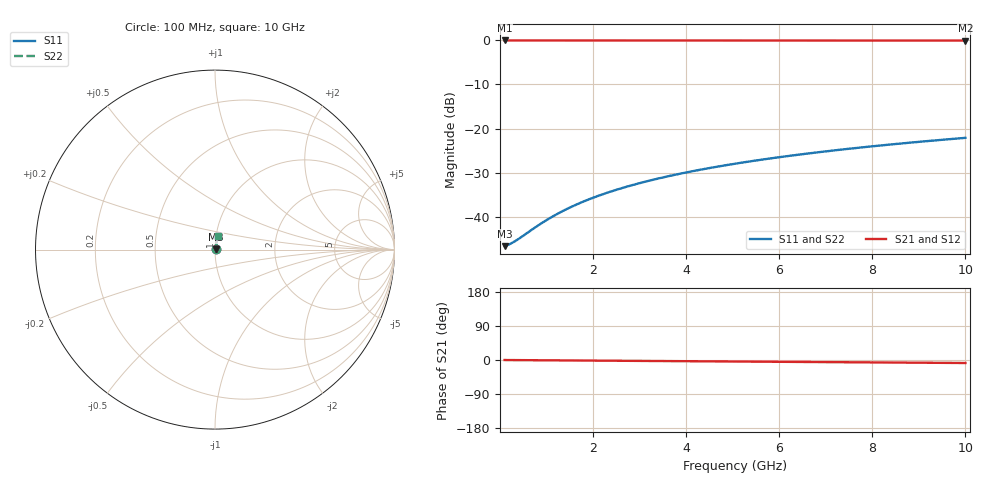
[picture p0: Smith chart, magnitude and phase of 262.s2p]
# Hz S RI R 50.00
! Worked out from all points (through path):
!   100 points, 100 MHz to 10 GHz, reference 50 ohm
!   highest |S21| = -0.04 dB at 100 MHz (marker M1); lowest = -0.1 dB at 10 GHz (marker M2)
!   group delay of S21, straight-line fit = 2.2 ps
!   lowest |S11| = -46.7 dB at 100 MHz (marker M3), VSWR 1.01, Z = 50.5 + j0.0786 ohm
!   |S11| at or under -10 dB: start of sweep to end of sweep
!   |S22| runs from -46.7 to -22.1 dB; largest |S21 - S12| = 0
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1e8  0.00458 0.000779  0.9954 -0.00138  0.9954 -0.00138  0.00458 0.000779
2e8  0.00461 0.00156  0.9954 -0.00275  0.9954 -0.00275  0.00461 0.00156
3e8  0.00464 0.00234  0.9954 -0.00413  0.9954 -0.00413  0.00464 0.00234
4e8  0.00466 0.00311  0.9953 -0.0055  0.9953 -0.0055  0.00466 0.00311
8e8  0.00476 0.00623  0.9952 -0.011  0.9952 -0.011  0.00476 0.00623
1.1e9  0.00485 0.00856  0.9951 -0.0151  0.9951 -0.0151  0.00485 0.00856
1.4e9  0.00496 0.0109  0.995 -0.0193  0.995 -0.0193  0.00496 0.0109
1.6e9  0.00504 0.0125  0.9949 -0.022  0.9949 -0.022  0.00504 0.0125
1.8e9  0.00512 0.014  0.9948 -0.0248  0.9948 -0.0248  0.00512 0.014
2.1e9  0.00527 0.0163  0.9946 -0.0289  0.9946 -0.0289  0.00527 0.0163
2.5e9  0.00549 0.0194  0.9944 -0.0344  0.9944 -0.0344  0.00549 0.0194
2.9e9  0.00574 0.0225  0.9941 -0.0399  0.9941 -0.0399  0.00574 0.0225
3.4e9  0.0061 0.0264  0.9937 -0.0467  0.9937 -0.0467  0.0061 0.0264
3.8e9  0.00642 0.0295  0.9933 -0.0522  0.9933 -0.0522  0.00642 0.0295
4.2e9  0.00678 0.0326  0.9929 -0.0577  0.9929 -0.0577  0.00678 0.0326
4.6e9  0.00718 0.0357  0.9924 -0.0632  0.9924 -0.0632  0.00718 0.0357
5.1e9  0.00772 0.0395  0.9918 -0.07  0.9918 -0.07  0.00772 0.0395
5.9e9  0.00869 0.0457  0.9907 -0.081  0.9907 -0.081  0.00869 0.0457
6.7e9  0.0098 0.0518  0.9894 -0.0919  0.9894 -0.0919  0.0098 0.0518
7.5e9  0.011 0.0579  0.9879 -0.1028  0.9879 -0.1028  0.011 0.0579
8.4e9  0.0126 0.0647  0.9861 -0.115  0.9861 -0.115  0.0126 0.0647
1e10  0.0158 0.0768  0.9824 -0.1367  0.9824 -0.1367  0.0158 0.0768
